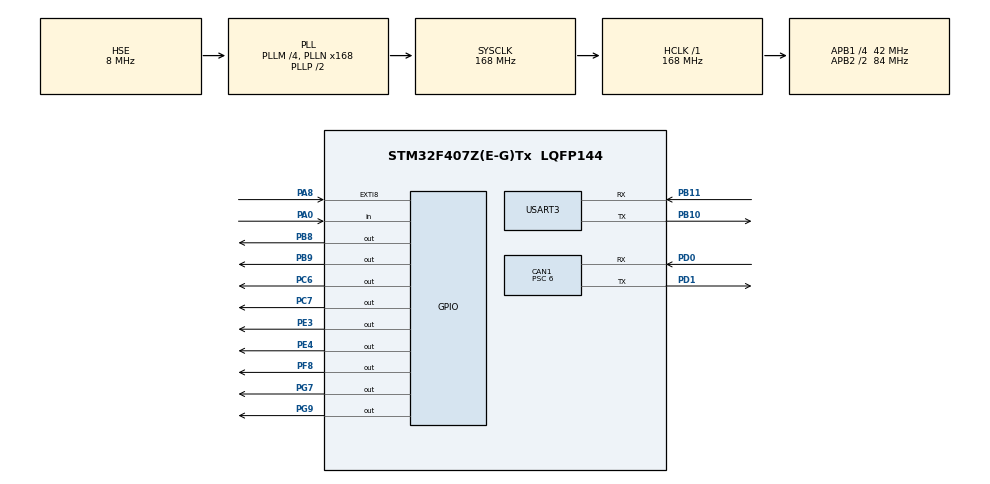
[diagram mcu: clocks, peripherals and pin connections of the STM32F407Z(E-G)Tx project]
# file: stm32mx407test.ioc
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CAN1.ABOM=ENABLE
CAN1.BS1=CAN_BS1_11TQ
CAN1.BS2=CAN_BS2_2TQ
CAN1.CalculateBaudRate=500000
CAN1.CalculateTimeBit=2000
CAN1.CalculateTimeQuantum=142.85714285714286
CAN1.NART=ENABLE
CAN1.Prescaler=6
Mcu.Family=STM32F4
Mcu.Name=STM32F407Z(E-G)Tx
Mcu.Package=LQFP144
NVIC.CAN1_RX0_IRQn=true\:0\:0\:false\:false\:true\:true\:true\:true
NVIC.CAN1_TX_IRQn=true\:0\:0\:false\:false\:true\:true\:true\:true
NVIC.EXTI9_5_IRQn=true\:0\:0\:false\:false\:true\:true\:true\:true
NVIC.PriorityGroup=NVIC_PRIORITYGROUP_4
NVIC.USART3_IRQn=true\:2\:0\:true\:false\:true\:true\:true\:true
PA0-WKUP.GPIO_PuPd=GPIO_PULLUP
PA0-WKUP.Signal=GPIO_Input
PA13.Mode=Serial_Wire
PA13.Signal=SYS_JTMS-SWDIO
PA14.Mode=Serial_Wire
PA14.Signal=SYS_JTCK-SWCLK
PA8.GPIO_ModeDefaultEXTI=GPIO_MODE_IT_FALLING
PA8.GPIO_PuPd=GPIO_PULLUP
PA8.Signal=GPXTI8
PB10.GPIO_PuPd=GPIO_PULLUP
PB10.Mode=Asynchronous
PB10.Signal=USART3_TX
PB11.GPIO_PuPd=GPIO_PULLUP
PB11.Mode=Asynchronous
PB11.Signal=USART3_RX
PB8.GPIO_PuPd=GPIO_PULLUP
PB8.GPIO_Speed=GPIO_SPEED_FREQ_HIGH
PB8.Signal=GPIO_Output
PB9.GPIO_PuPd=GPIO_PULLUP
PB9.GPIO_Speed=GPIO_SPEED_FREQ_HIGH
PB9.Signal=GPIO_Output
PC6.Signal=GPIO_Output
PC7.Signal=GPIO_Output
PD0.GPIO_PuPd=GPIO_PULLUP
PD0.Mode=CAN_Activate
PD0.Signal=CAN1_RX
PD1.GPIO_PuPd=GPIO_PULLUP
PD1.Mode=CAN_Activate
PD1.Signal=CAN1_TX
PE3.PinState=GPIO_PIN_SET
PE3.Signal=GPIO_Output
PE4.PinState=GPIO_PIN_SET
PE4.Signal=GPIO_Output
PF8.Signal=GPIO_Output
PG7.GPIO_PuPd=GPIO_NOPULL
PG7.PinState=GPIO_PIN_RESET
PG7.Signal=GPIO_Output
PG9.PinState=GPIO_PIN_SET
PG9.Signal=GPIO_Output
PH0-OSC_IN.Mode=HSE-External-Oscillator
PH0-OSC_IN.Signal=RCC_OSC_IN
PH1-OSC_OUT.Mode=HSE-External-Oscillator
PH1-OSC_OUT.Signal=RCC_OSC_OUT
ProjectManager.HeapSize=0x200
ProjectManager.StackSize=0x400
ProjectManager.TargetToolchain=CMake
RCC.48MHZClocksFreq_Value=84000000
RCC.AHBFreq_Value=168000000
RCC.APB1CLKDivider=RCC_HCLK_DIV4
RCC.APB1Freq_Value=42000000
RCC.APB1TimFreq_Value=84000000
RCC.APB2CLKDivider=RCC_HCLK_DIV2
RCC.APB2Freq_Value=84000000
RCC.APB2TimFreq_Value=168000000
RCC.CortexFreq_Value=168000000
RCC.EnbaleCSS=true
RCC.HCLKFreq_Value=168000000
RCC.HSE_VALUE=8000000
RCC.HSI_VALUE=16000000
RCC.LSE_VALUE=32768
RCC.PLLM=4
RCC.PLLN=168
RCC.PLLSourceVirtual=RCC_PLLSOURCE_HSE
RCC.SYSCLKFreq_VALUE=168000000
RCC.SYSCLKSource=RCC_SYSCLKSOURCE_PLLCLK
RCC.VCOOutputFreq_Value=336000000
USART3.VirtualMode=VM_ASYNC
board=custom

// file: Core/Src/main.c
/* USER CODE BEGIN Header */
/**
 ******************************************************************************
 * @file           : main.c
 * @brief          : Main program body
 ******************************************************************************
 * @attention
 *
 * Copyright (c) 2026 STMicroelectronics.
 * All rights reserved.
 *
 * This software is licensed under terms that can be found in the LICENSE file
 * in the root directory of this software component.
 * If no LICENSE file comes with this software, it is provided AS-IS.
 *
 ******************************************************************************
 */
/* USER CODE END Header */
#include "main.h"

/* USER CODE BEGIN Includes */
#include "beep.h"
// #include "count_sensor.h"
#include "app_wifi.h"
#include "bsp_esp8266.h"
#include "fan.h"
#include "led.h"
#include "oled.h"
#include <stdint.h>

/* USER CODE END Includes */

CAN_HandleTypeDef hcan1;

UART_HandleTypeDef huart3;

void SystemClock_Config(void);
static void MX_GPIO_Init(void);
static void MX_CAN1_Init(void);
static void MX_USART3_UART_Init(void);

/* USER CODE BEGIN 0 */
/* 点灯测试用的时间戳 */
static uint32_t s_led_tick = 0; /* 心跳灯 */
/* USER CODE END 0 */

int main(void) {

  /* MCU Configuration--------------------------------------------------------*/

  /* Reset of all peripherals, Initializes the Flash interface and the Systick.
   */
  HAL_Init();

  /* Configure the system clock */
  SystemClock_Config();

  /* Initialize all configured peripherals */
  MX_GPIO_Init();
  MX_CAN1_Init();
  MX_USART3_UART_Init();
  /* USER CODE BEGIN 2 */
  OLED_Init();
  // BSP_ESP8266_Init(&huart3);
  // WIFI_TestAndShow("YQ-shixun5", "88888888");
  // uint32_t last_count = 0xFFFFFFFF;
  // CountSensor_Init();
  OLED_ShowString(0,0, "Hello, World!", OLED_8X16);
  /* USER CODE END 2 */

  /* Infinite loop */
  /* USER CODE BEGIN WHILE */
  while (1) {
    /* ---- 灯1：500 ms 翻转一次 = 程序在跑（心跳，不阻塞） ---- */
    if ((HAL_GetTick() - s_led_tick) >= 500U) {
      s_led_tick = HAL_GetTick();
      LED_Toggle(0); /* 灯3 */
      LED_Toggle(1); /* 灯4 */
      LED_Toggle(2);
    }

    OLED_Update();

    /* USER CODE END WHILE */

  }
}

void SystemClock_Config(void) {
  RCC_OscInitTypeDef RCC_OscInitStruct = {0};
  RCC_ClkInitTypeDef RCC_ClkInitStruct = {0};

  /** Configure the main internal regulator output voltage
   */
  __HAL_RCC_PWR_CLK_ENABLE();
  __HAL_PWR_VOLTAGESCALING_CONFIG(PWR_REGULATOR_VOLTAGE_SCALE1);

  /** Initializes the RCC Oscillators according to the specified parameters
   * in the RCC_OscInitTypeDef structure.
   */
  RCC_OscInitStruct.OscillatorType = RCC_OSCILLATORTYPE_HSE;
  RCC_OscInitStruct.HSEState = RCC_HSE_ON;
  RCC_OscInitStruct.PLL.PLLState = RCC_PLL_ON;
  RCC_OscInitStruct.PLL.PLLSource = RCC_PLLSOURCE_HSE;
  RCC_OscInitStruct.PLL.PLLM = 4;
  RCC_OscInitStruct.PLL.PLLN = 168;
  RCC_OscInitStruct.PLL.PLLP = RCC_PLLP_DIV2;
  RCC_OscInitStruct.PLL.PLLQ = 4;
  if (HAL_RCC_OscConfig(&RCC_OscInitStruct) != HAL_OK) {
    Error_Handler();
  }

  /** Initializes the CPU, AHB and APB buses clocks
   */
  RCC_ClkInitStruct.ClockType = RCC_CLOCKTYPE_HCLK | RCC_CLOCKTYPE_SYSCLK |
                                RCC_CLOCKTYPE_PCLK1 | RCC_CLOCKTYPE_PCLK2;
  RCC_ClkInitStruct.SYSCLKSource = RCC_SYSCLKSOURCE_PLLCLK;
  RCC_ClkInitStruct.AHBCLKDivider = RCC_SYSCLK_DIV1;
  RCC_ClkInitStruct.APB1CLKDivider = RCC_HCLK_DIV4;
  RCC_ClkInitStruct.APB2CLKDivider = RCC_HCLK_DIV2;

  if (HAL_RCC_ClockConfig(&RCC_ClkInitStruct, FLASH_LATENCY_5) != HAL_OK) {
    Error_Handler();
  }

  /** Enables the Clock Security System
   */
  HAL_RCC_EnableCSS();
}

static void MX_CAN1_Init(void) {

  hcan1.Instance = CAN1;
  hcan1.Init.Prescaler = 6;
  hcan1.Init.Mode = CAN_MODE_NORMAL;
  hcan1.Init.SyncJumpWidth = CAN_SJW_1TQ;
  hcan1.Init.TimeSeg1 = CAN_BS1_11TQ;
  hcan1.Init.TimeSeg2 = CAN_BS2_2TQ;
  hcan1.Init.TimeTriggeredMode = DISABLE;
  hcan1.Init.AutoBusOff = ENABLE;
  hcan1.Init.AutoWakeUp = DISABLE;
  hcan1.Init.AutoRetransmission = ENABLE;
  hcan1.Init.ReceiveFifoLocked = DISABLE;
  hcan1.Init.TransmitFifoPriority = DISABLE;
  if (HAL_CAN_Init(&hcan1) != HAL_OK) {
    Error_Handler();
  }
}

static void MX_USART3_UART_Init(void) {

  huart3.Instance = USART3;
  huart3.Init.BaudRate = 115200;
  huart3.Init.WordLength = UART_WORDLENGTH_8B;
  huart3.Init.StopBits = UART_STOPBITS_1;
  huart3.Init.Parity = UART_PARITY_NONE;
  huart3.Init.Mode = UART_MODE_TX_RX;
  huart3.Init.HwFlowCtl = UART_HWCONTROL_NONE;
  huart3.Init.OverSampling = UART_OVERSAMPLING_16;
  if (HAL_UART_Init(&huart3) != HAL_OK) {
    Error_Handler();
  }
}

static void MX_GPIO_Init(void) {
  GPIO_InitTypeDef GPIO_InitStruct = {0};

  /* GPIO Ports Clock Enable */
  __HAL_RCC_GPIOE_CLK_ENABLE();
  __HAL_RCC_GPIOF_CLK_ENABLE();
  __HAL_RCC_GPIOH_CLK_ENABLE();
  __HAL_RCC_GPIOA_CLK_ENABLE();
  __HAL_RCC_GPIOB_CLK_ENABLE();
  __HAL_RCC_GPIOG_CLK_ENABLE();
  __HAL_RCC_GPIOC_CLK_ENABLE();
  __HAL_RCC_GPIOD_CLK_ENABLE();

  /*Configure GPIO pin Output Level */
  HAL_GPIO_WritePin(GPIOE, GPIO_PIN_3 | GPIO_PIN_4, GPIO_PIN_SET);

  /*Configure GPIO pin Output Level */
  HAL_GPIO_WritePin(GPIOF, GPIO_PIN_8, GPIO_PIN_RESET);

  /*Configure GPIO pin Output Level */
  HAL_GPIO_WritePin(GPIOG, GPIO_PIN_7, GPIO_PIN_RESET);

  /*Configure GPIO pin Output Level */
  HAL_GPIO_WritePin(GPIOC, GPIO_PIN_6 | GPIO_PIN_7, GPIO_PIN_RESET);

  /*Configure GPIO pin Output Level */
  HAL_GPIO_WritePin(GPIOG, GPIO_PIN_9, GPIO_PIN_SET);

  /*Configure GPIO pin Output Level */
  HAL_GPIO_WritePin(GPIOB, GPIO_PIN_8 | GPIO_PIN_9, GPIO_PIN_RESET);

  /*Configure GPIO pins : PE3 PE4 */
  GPIO_InitStruct.Pin = GPIO_PIN_3 | GPIO_PIN_4;
  GPIO_InitStruct.Mode = GPIO_MODE_OUTPUT_PP;
  GPIO_InitStruct.Pull = GPIO_NOPULL;
  GPIO_InitStruct.Speed = GPIO_SPEED_FREQ_LOW;
  HAL_GPIO_Init(GPIOE, &GPIO_InitStruct);

  /*Configure GPIO pin : PF8 */
  GPIO_InitStruct.Pin = GPIO_PIN_8;
  GPIO_InitStruct.Mode = GPIO_MODE_OUTPUT_PP;
  GPIO_InitStruct.Pull = GPIO_NOPULL;
  GPIO_InitStruct.Speed = GPIO_SPEED_FREQ_LOW;
  HAL_GPIO_Init(GPIOF, &GPIO_InitStruct);

  /*Configure GPIO pin : PA0 */
  GPIO_InitStruct.Pin = GPIO_PIN_0;
  GPIO_InitStruct.Mode = GPIO_MODE_INPUT;
  GPIO_InitStruct.Pull = GPIO_PULLUP;
  HAL_GPIO_Init(GPIOA, &GPIO_InitStruct);

  /*Configure GPIO pins : PG7 PG9 */
  GPIO_InitStruct.Pin = GPIO_PIN_7 | GPIO_PIN_9;
  GPIO_InitStruct.Mode = GPIO_MODE_OUTPUT_PP;
  GPIO_InitStruct.Pull = GPIO_NOPULL;
  GPIO_InitStruct.Speed = GPIO_SPEED_FREQ_LOW;
  HAL_GPIO_Init(GPIOG, &GPIO_InitStruct);

  /*Configure GPIO pins : PC6 PC7 */
  GPIO_InitStruct.Pin = GPIO_PIN_6 | GPIO_PIN_7;
  GPIO_InitStruct.Mode = GPIO_MODE_OUTPUT_PP;
  GPIO_InitStruct.Pull = GPIO_NOPULL;
  GPIO_InitStruct.Speed = GPIO_SPEED_FREQ_LOW;
  HAL_GPIO_Init(GPIOC, &GPIO_InitStruct);

  /*Configure GPIO pin : PA8 */
  GPIO_InitStruct.Pin = GPIO_PIN_8;
  GPIO_InitStruct.Mode = GPIO_MODE_IT_FALLING;
  GPIO_InitStruct.Pull = GPIO_PULLUP;
  HAL_GPIO_Init(GPIOA, &GPIO_InitStruct);

  /*Configure GPIO pins : PB8 PB9 */
  GPIO_InitStruct.Pin = GPIO_PIN_8 | GPIO_PIN_9;
  GPIO_InitStruct.Mode = GPIO_MODE_OUTPUT_PP;
  GPIO_InitStruct.Pull = GPIO_PULLUP;
  GPIO_InitStruct.Speed = GPIO_SPEED_FREQ_HIGH;
  HAL_GPIO_Init(GPIOB, &GPIO_InitStruct);

  /* EXTI interrupt init*/
  HAL_NVIC_SetPriority(EXTI9_5_IRQn, 0, 0);
  HAL_NVIC_EnableIRQ(EXTI9_5_IRQn);

}

/* USER CODE BEGIN 4 */
void HAL_UART_RxCpltCallback(UART_HandleTypeDef *huart) {
  if (huart->Instance == USART3) {
    BSP_ESP8266_RxCallback(esp_rx_byte);
  }
}
/* USER CODE END 4 */

void Error_Handler(void) {
  __disable_irq();
  while (1) {
  }
}
#ifdef USE_FULL_ASSERT
/**
 * @brief  Reports the name of the source file and the source line number
 *         where the assert_param error has occurred.
 * @param  file: pointer to the source file name
 * @param  line: assert_param error line source number
 * @retval None
 */
void assert_failed(uint8_t *file, uint32_t line) {
  /* USER CODE BEGIN 6 */
  /* User can add his own implementation to report the file name and line
     number, ex: printf("Wrong parameters value: file %s on line %d\r\n", file,
     line) */
  /* USER CODE END 6 */
}
#endif /* USE_FULL_ASSERT */
